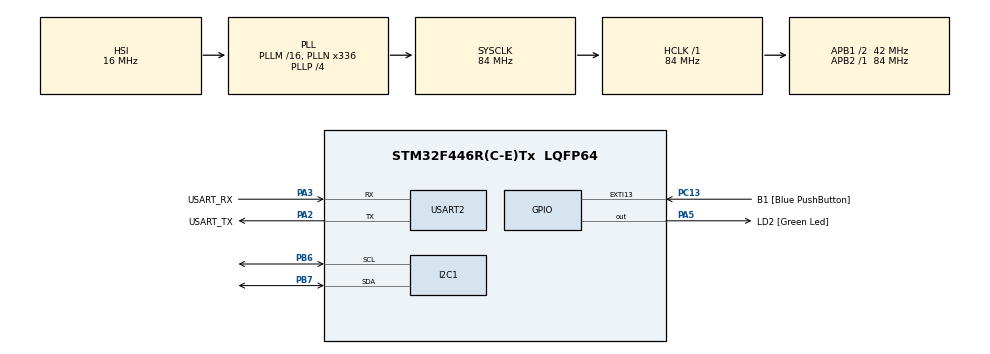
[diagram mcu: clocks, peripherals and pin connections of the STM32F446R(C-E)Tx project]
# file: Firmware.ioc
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I2C1.I2C_Mode=I2C_Standard
Mcu.Family=STM32F4
Mcu.Name=STM32F446R(C-E)Tx
Mcu.Package=LQFP64
NVIC.PriorityGroup=NVIC_PRIORITYGROUP_0
PA13.GPIO_Label=TMS
PA13.Mode=Serial_Wire
PA13.Signal=SYS_JTMS-SWDIO
PA14.GPIO_Label=TCK
PA14.Mode=Serial_Wire
PA14.Signal=SYS_JTCK-SWCLK
PA2.GPIO_Label=USART_TX
PA2.Mode=Asynchronous
PA2.Signal=USART2_TX
PA3.GPIO_Label=USART_RX
PA3.Mode=Asynchronous
PA3.Signal=USART2_RX
PA5.GPIO_Label=LD2 [Green Led]
PA5.Signal=GPIO_Output
PB3.GPIO_Label=SWO
PB3.Signal=SYS_JTDO-SWO
PB6.Mode=I2C
PB6.Signal=I2C1_SCL
PB7.Mode=I2C
PB7.Signal=I2C1_SDA
PC13.GPIO_Label=B1 [Blue PushButton]
PC13.GPIO_ModeDefaultEXTI=GPIO_MODE_IT_FALLING
PC13.Signal=GPXTI13
PC14-OSC32_IN.Mode=LSE-External-Oscillator
PC14-OSC32_IN.Signal=RCC_OSC32_IN
PC15-OSC32_OUT.Mode=LSE-External-Oscillator
PC15-OSC32_OUT.Signal=RCC_OSC32_OUT
PH0-OSC_IN.Mode=HSE-External-Oscillator
PH0-OSC_IN.Signal=RCC_OSC_IN
PH1-OSC_OUT.Mode=HSE-External-Oscillator
PH1-OSC_OUT.Signal=RCC_OSC_OUT
ProjectManager.HeapSize=0x200
ProjectManager.StackSize=0x400
ProjectManager.TargetToolchain=STM32CubeIDE
RCC.48MHZClocksFreq_Value=84000000
RCC.AHBFreq_Value=84000000
RCC.APB1CLKDivider=RCC_HCLK_DIV2
RCC.APB1Freq_Value=42000000
RCC.APB1TimFreq_Value=84000000
RCC.APB2Freq_Value=84000000
RCC.APB2TimFreq_Value=84000000
RCC.CortexFreq_Value=84000000
RCC.FLatency-AdvancedSettings=FLASH_LATENCY_2
RCC.HCLKFreq_Value=84000000
RCC.HSE_VALUE=8000000
RCC.HSI_VALUE=16000000
RCC.PLLN=336
RCC.PLLP=RCC_PLLP_DIV4
RCC.SYSCLKFreq_VALUE=84000000
RCC.SYSCLKSource=RCC_SYSCLKSOURCE_PLLCLK
RCC.USBFreq_Value=168000000
RCC.VCOOutputFreq_Value=336000000
USART2.VirtualMode=VM_ASYNC
board=NUCLEO-F446RE

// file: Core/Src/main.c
/* USER CODE BEGIN Header */
/**
  ******************************************************************************
  * @file           : main.c
  * @brief          : Main program body
  ******************************************************************************
  * @attention
  *
  * Copyright (c) 2023 STMicroelectronics.
  * All rights reserved.
  *
  * This software is licensed under terms that can be found in the LICENSE file
  * in the root directory of this software component.
  * If no LICENSE file comes with this software, it is provided AS-IS.
  *
  ******************************************************************************
  */
/* USER CODE END Header */
#include "main.h"

/* USER CODE BEGIN Includes */
#include "stdio.h"
#include "application/application.hpp"
/* USER CODE END Includes */

I2C_HandleTypeDef hi2c1;

UART_HandleTypeDef huart2;

void SystemClock_Config(void);
static void MX_GPIO_Init(void);
static void MX_USART2_UART_Init(void);
static void MX_I2C1_Init(void);
/* USER CODE BEGIN PFP */
int _write(int file, char *ptr, int len)
{
  /* Implement your write code here. This is
     used by puts and printf for example */
  int i=0;
  for(i=0 ; i<len ; i++)
    ITM_SendChar((*ptr++));
  return len;
}
/* USER CODE END PFP */

/* USER CODE BEGIN 0 */
static const uint8_t ACCEL_ADDR = 0x18;

static const uint8_t ACC_CHIP_ID = 0x00;
// write 0x00 for OFF, 0x04 for ON
static const uint8_t ACC_PWR_CTRL = 0x7D;

HAL_StatusTypeDef ret;
uint8_t buf[12];
int16_t val;
/* USER CODE END 0 */

int main(void)
{

  /* MCU Configuration--------------------------------------------------------*/

  /* Reset of all peripherals, Initializes the Flash interface and the Systick. */
  HAL_Init();

  /* Configure the system clock */
  SystemClock_Config();

  /* Initialize all configured peripherals */
  MX_GPIO_Init();
  MX_USART2_UART_Init();
  MX_I2C1_Init();
  /* USER CODE BEGIN 2 */

  // Short delay for devices to initialize
  HAL_Delay(500U);

  uint8_t onCommand[] = {ACC_PWR_CTRL, 0x04};
  ret = HAL_I2C_Master_Transmit(&hi2c1, ACCEL_ADDR, onCommand, 2, HAL_MAX_DELAY);
  if ( ret != HAL_OK ) {
	printf("Error Tx: %s\n", (char*)buf);
  }

  HAL_Delay(50U);

  for(int i=1; i<128; i++)
	{
	  ret = HAL_I2C_IsDeviceReady(&hi2c1, (uint16_t)(i<<1), 3, 5);
	  if(ret == HAL_OK)
	  {
		  printf("Heard at: 0x%X", i);
	  }
	}

  /* USER CODE END 2 */

  /* Infinite loop */
  while (1)
  {

    /* USER CODE BEGIN 3 */
	uint8_t idCommand[] = {ACC_CHIP_ID};
    ret = HAL_I2C_Master_Transmit(&hi2c1, ACCEL_ADDR, idCommand, 1, HAL_MAX_DELAY);
    ret = HAL_I2C_Master_Receive(&hi2c1, ACCEL_ADDR, buf, 1, HAL_MAX_DELAY);

    printf("Accel ID: %i\n", buf[0]);
	HAL_Delay(500U);
  }
  /* USER CODE END 3 */
}

void SystemClock_Config(void)
{
  RCC_OscInitTypeDef RCC_OscInitStruct = {0};
  RCC_ClkInitTypeDef RCC_ClkInitStruct = {0};

  /** Configure the main internal regulator output voltage
  */
  __HAL_RCC_PWR_CLK_ENABLE();
  __HAL_PWR_VOLTAGESCALING_CONFIG(PWR_REGULATOR_VOLTAGE_SCALE3);

  /** Initializes the RCC Oscillators according to the specified parameters
  * in the RCC_OscInitTypeDef structure.
  */
  RCC_OscInitStruct.OscillatorType = RCC_OSCILLATORTYPE_HSI;
  RCC_OscInitStruct.HSIState = RCC_HSI_ON;
  RCC_OscInitStruct.HSICalibrationValue = RCC_HSICALIBRATION_DEFAULT;
  RCC_OscInitStruct.PLL.PLLState = RCC_PLL_ON;
  RCC_OscInitStruct.PLL.PLLSource = RCC_PLLSOURCE_HSI;
  RCC_OscInitStruct.PLL.PLLM = 16;
  RCC_OscInitStruct.PLL.PLLN = 336;
  RCC_OscInitStruct.PLL.PLLP = RCC_PLLP_DIV4;
  RCC_OscInitStruct.PLL.PLLQ = 2;
  RCC_OscInitStruct.PLL.PLLR = 2;
  if (HAL_RCC_OscConfig(&RCC_OscInitStruct) != HAL_OK)
  {
    Error_Handler();
  }

  /** Initializes the CPU, AHB and APB buses clocks
  */
  RCC_ClkInitStruct.ClockType = RCC_CLOCKTYPE_HCLK|RCC_CLOCKTYPE_SYSCLK
                              |RCC_CLOCKTYPE_PCLK1|RCC_CLOCKTYPE_PCLK2;
  RCC_ClkInitStruct.SYSCLKSource = RCC_SYSCLKSOURCE_PLLCLK;
  RCC_ClkInitStruct.AHBCLKDivider = RCC_SYSCLK_DIV1;
  RCC_ClkInitStruct.APB1CLKDivider = RCC_HCLK_DIV2;
  RCC_ClkInitStruct.APB2CLKDivider = RCC_HCLK_DIV1;

  if (HAL_RCC_ClockConfig(&RCC_ClkInitStruct, FLASH_LATENCY_2) != HAL_OK)
  {
    Error_Handler();
  }
}

static void MX_I2C1_Init(void)
{

  hi2c1.Instance = I2C1;
  hi2c1.Init.ClockSpeed = 100000;
  hi2c1.Init.DutyCycle = I2C_DUTYCYCLE_2;
  hi2c1.Init.OwnAddress1 = 0;
  hi2c1.Init.AddressingMode = I2C_ADDRESSINGMODE_7BIT;
  hi2c1.Init.DualAddressMode = I2C_DUALADDRESS_DISABLE;
  hi2c1.Init.OwnAddress2 = 0;
  hi2c1.Init.GeneralCallMode = I2C_GENERALCALL_DISABLE;
  hi2c1.Init.NoStretchMode = I2C_NOSTRETCH_DISABLE;
  if (HAL_I2C_Init(&hi2c1) != HAL_OK)
  {
    Error_Handler();
  }

}

static void MX_USART2_UART_Init(void)
{

  huart2.Instance = USART2;
  huart2.Init.BaudRate = 115200;
  huart2.Init.WordLength = UART_WORDLENGTH_8B;
  huart2.Init.StopBits = UART_STOPBITS_1;
  huart2.Init.Parity = UART_PARITY_NONE;
  huart2.Init.Mode = UART_MODE_TX_RX;
  huart2.Init.HwFlowCtl = UART_HWCONTROL_NONE;
  huart2.Init.OverSampling = UART_OVERSAMPLING_16;
  if (HAL_UART_Init(&huart2) != HAL_OK)
  {
    Error_Handler();
  }

}

static void MX_GPIO_Init(void)
{
  GPIO_InitTypeDef GPIO_InitStruct = {0};

  /* GPIO Ports Clock Enable */
  __HAL_RCC_GPIOC_CLK_ENABLE();
  __HAL_RCC_GPIOH_CLK_ENABLE();
  __HAL_RCC_GPIOA_CLK_ENABLE();
  __HAL_RCC_GPIOB_CLK_ENABLE();

  /*Configure GPIO pin Output Level */
  HAL_GPIO_WritePin(LD2_GPIO_Port, LD2_Pin, GPIO_PIN_RESET);

  /*Configure GPIO pin : B1_Pin */
  GPIO_InitStruct.Pin = B1_Pin;
  GPIO_InitStruct.Mode = GPIO_MODE_IT_FALLING;
  GPIO_InitStruct.Pull = GPIO_NOPULL;
  HAL_GPIO_Init(B1_GPIO_Port, &GPIO_InitStruct);

  /*Configure GPIO pin : LD2_Pin */
  GPIO_InitStruct.Pin = LD2_Pin;
  GPIO_InitStruct.Mode = GPIO_MODE_OUTPUT_PP;
  GPIO_InitStruct.Pull = GPIO_NOPULL;
  GPIO_InitStruct.Speed = GPIO_SPEED_FREQ_LOW;
  HAL_GPIO_Init(LD2_GPIO_Port, &GPIO_InitStruct);

}

void Error_Handler(void)
{
  __disable_irq();
  while (1)
  {
  }
}
